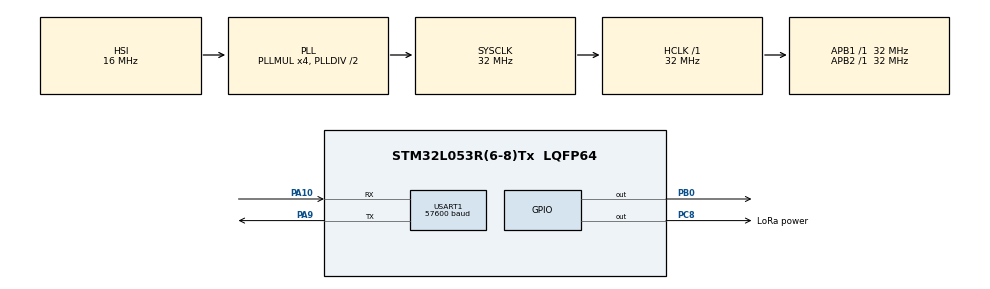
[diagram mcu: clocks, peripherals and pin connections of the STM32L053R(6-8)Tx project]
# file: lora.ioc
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Dma.Request0=USART1_RX
Dma.Request1=USART1_TX
Dma.USART1_RX.0.Direction=DMA_PERIPH_TO_MEMORY
Dma.USART1_RX.0.Instance=DMA1_Channel3
Dma.USART1_RX.0.MemDataAlignment=DMA_MDATAALIGN_BYTE
Dma.USART1_RX.0.MemInc=DMA_MINC_ENABLE
Dma.USART1_RX.0.Mode=DMA_CIRCULAR
Dma.USART1_RX.0.PeriphDataAlignment=DMA_PDATAALIGN_BYTE
Dma.USART1_RX.0.PeriphInc=DMA_PINC_DISABLE
Dma.USART1_RX.0.Priority=DMA_PRIORITY_LOW
Dma.USART1_TX.1.Direction=DMA_MEMORY_TO_PERIPH
Dma.USART1_TX.1.Instance=DMA1_Channel2
Dma.USART1_TX.1.MemDataAlignment=DMA_MDATAALIGN_BYTE
Dma.USART1_TX.1.MemInc=DMA_MINC_ENABLE
Dma.USART1_TX.1.Mode=DMA_NORMAL
Dma.USART1_TX.1.PeriphDataAlignment=DMA_PDATAALIGN_BYTE
Dma.USART1_TX.1.PeriphInc=DMA_PINC_DISABLE
Dma.USART1_TX.1.Priority=DMA_PRIORITY_LOW
Mcu.Family=STM32L0
Mcu.Name=STM32L053R(6-8)Tx
Mcu.Package=LQFP64
NVIC.DMA1_Channel2_3_IRQn=true\:0\:0\:false\:false\:true\:false\:true\:true
NVIC.TIM21_IRQn=true\:0\:0\:false\:false\:true\:true\:true\:true
NVIC.TIM6_DAC_IRQn=true\:0\:0\:false\:false\:true\:true\:true\:true
NVIC.USART1_IRQn=true\:0\:0\:false\:false\:true\:true\:true\:true
PA10.Mode=Asynchronous
PA10.Signal=USART1_RX
PA9.Mode=Asynchronous
PA9.Signal=USART1_TX
PB0.PinState=GPIO_PIN_SET
PB0.Signal=GPIO_Output
PC8.GPIO_Label=LoRa power
PC8.GPIO_ModeDefaultOutputPP=GPIO_MODE_OUTPUT_PP
PC8.PinState=GPIO_PIN_RESET
PC8.Signal=GPIO_Output
ProjectManager.HeapSize=0x200
ProjectManager.StackSize=0x400
ProjectManager.TargetToolchain=STM32CubeIDE
RCC.AHBFreq_Value=32000000
RCC.APB1Freq_Value=32000000
RCC.APB1TimFreq_Value=32000000
RCC.APB2Freq_Value=32000000
RCC.APB2TimFreq_Value=32000000
RCC.HCLKFreq_Value=32000000
RCC.HSE_VALUE=8000000
RCC.HSI16_VALUE=16000000
RCC.HSI48_VALUE=48000000
RCC.HSI_VALUE=16000000
RCC.LSE_VALUE=32768
RCC.MSI_VALUE=2097000
RCC.PLLMUL=RCC_PLLMUL_4
RCC.SYSCLKFreq_VALUE=32000000
RCC.SYSCLKSource=RCC_SYSCLKSOURCE_PLLCLK
RCC.VCOOutputFreq_Value=64000000
TIM21.Period=9999
TIM21.Prescaler=6399
TIM6.Period=9999
TIM6.Prescaler=6399
USART1.BaudRate=57600
USART1.VirtualMode-Asynchronous=VM_ASYNC
VP_TIM21_VS_ClockSourceINT.Mode=Internal
VP_TIM6_VS_ClockSourceINT.Mode=Enable_Timer
board=custom

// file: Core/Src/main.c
/* USER CODE BEGIN Header */
/**
  ******************************************************************************
  * @file           : main.c
  * @brief          : Main program body
  ******************************************************************************
  * @attention
  *
  * Copyright (c) 2026 STMicroelectronics.
  * All rights reserved.
  *
  * This software is licensed under terms that can be found in the LICENSE file
  * in the root directory of this software component.
  * If no LICENSE file comes with this software, it is provided AS-IS.
  *
  ******************************************************************************
  */
/* USER CODE END Header */
#include "main.h"

/* USER CODE BEGIN Includes */
#include <stdio.h>
#include <stdint.h>
#include <stdbool.h>
#include <RH_RF95.h>

/* USER CODE END Includes */

TIM_HandleTypeDef htim6;
TIM_HandleTypeDef htim21;

UART_HandleTypeDef huart1;
DMA_HandleTypeDef hdma_usart1_rx;
DMA_HandleTypeDef hdma_usart1_tx;

/* USER CODE BEGIN PV */
bool read_lora_fifo;
//htim6 is lora send timer

/* USER CODE END PV */

void SystemClock_Config(void);
static void MX_GPIO_Init(void);
static void MX_DMA_Init(void);
static void MX_USART1_UART_Init(void);
static void MX_TIM21_Init(void);
static void MX_TIM6_Init(void);

/* USER CODE BEGIN 0 */
bool sendfifo_ready_norm = true;
int sendfifo_offset_norm = 0;
bool rx_ready = false;
uint8_t sendfifo_norm[FIFOSIZE_TX_NORM]; //array of data read from LoRa module
uint8_t receivefifo[FIFOSIZE_RX]; //array of data read from LoRa module
uint8_t sendfifo_send_message[FIFOSIZE_TX_SEND]; //array of data sending to LoRa module for an actual message send
uint8_t sendfifo_rec_message[FIFOSIZE_TX_REC]; //array of data sending to LoRa module for reading FIFO buffer
int sendfifo_offset_send = 0;
bool sendfifo_ready_send = true;
int sendfifo_offset_rec = 0;
bool sendfifo_ready_rec = true;

bool send_normal = false;
bool send_send = false;
bool send_rec = false; //great names I know

uint8_t global_receive_mode_from_cad;
//1 means the lora timer is currently for receive mode timeout
//0 means the lora timer is currently for cad cycle

#ifdef CAD_BOL
  uint8_t rxdone = 0;
  uint8_t valid_header = 0;
  uint8_t crc_error = 0;
  bool clear = true; //this clears irq registers (need to for this, else LEDs would never reset)
  uint8_t rec_data [MESSAGE_LENGTH];
  bool rec_good = false;
  uint8_t send_data [MESSAGE_LENGTH];
  bool send_good = false;
#endif
/* USER CODE END 0 */

int main(void)
{

  /* MCU Configuration--------------------------------------------------------*/

  /* Reset of all peripherals, Initializes the Flash interface and the Systick. */
  HAL_Init();

  /* USER CODE BEGIN Init */
  //change systick priority
  HAL_NVIC_DisableIRQ (SysTick_IRQn);
  HAL_NVIC_SetPriority(SysTick_IRQn, 0, 0);
  HAL_NVIC_EnableIRQ(SysTick_IRQn);//while this is added here, it needs to be at the bottom of the main function right before the loop

  /* USER CODE END Init */

  /* Configure the system clock */
  SystemClock_Config();

  /* Initialize all configured peripherals */
  MX_GPIO_Init();
  MX_DMA_Init();
  MX_USART1_UART_Init();
  MX_TIM21_Init();
  MX_TIM6_Init();
  /* USER CODE BEGIN 2 */
  HAL_NVIC_DisableIRQ (TIM21_IRQn); //disable tim21, used for CAD cycle so it does not go off before init is done
  HAL_NVIC_DisableIRQ (TIM6_DAC_IRQn); //disable tim6, used for lora send so it does not go off before init is done
  read_lora_fifo = false;
  receivefifo[0] = 0; //added
  //HAL_GPIO_WritePin (GPIOC, 8, GPIO_PIN_SET);
  HAL_GPIO_WritePin (GPIOB, 0, GPIO_PIN_RESET);
  HAL_Delay(1000);
  //HAL_GPIO_WritePin (GPIOC, 8, GPIO_PIN_RESET);
  HAL_GPIO_WritePin (GPIOB, 0, GPIO_PIN_SET);
  HAL_Delay(1000);
  HAL_UART_Receive_DMA(&huart1, receivefifo, 1);
  HAL_Delay(1000);//added
  connected_test(hdma_usart1_tx, huart1);
  lora_init();
  HAL_Delay(1000);
  setup_lora_send_timer(&htim6); //set up lora send data timer
  HAL_NVIC_SetPriority(TIM21_IRQn, 2, 0); //start TIM21 since it was stopped before
  HAL_NVIC_EnableIRQ(TIM21_IRQn);
  HAL_NVIC_SetPriority(TIM6_DAC_IRQn, 2, 0);
  HAL_NVIC_EnableIRQ(TIM6_DAC_IRQn);
  //tx = C12, rx = D2
  //rxdone LED = C0, valid_header LED = C1, crc_error LED = C2 USE RESISTORS: 150 ohm
  //C3-10 are 8 bits for data
  //if(receive_bol){ //receiving
#ifdef CAD_BOL //important code in here, do not forget to add it
  send_data[0] = 0xF0;
  send_data[1] = 0x0F;
  HAL_TIM_Base_Start_IT(&htim21);
  HAL_TIM_Base_Start_IT(&htim6);
#endif

#ifdef RECEIVE_BOL
	  uint8_t rxdone = 0;
	  uint8_t valid_header = 0;
	  uint8_t crc_error = 0;
	  bool clear = true; //this clears irq registers (need to for this, else LEDs would never reset)
	  uint8_t data [MESSAGE_LENGTH];
	  bool good = false;
  //}
#endif
  //end receiving
  //else{//sending
#ifdef SEND_BOL
	  uint8_t data [MESSAGE_LENGTH];
	  data[0] = 0xF0;
	  data[1] = 0x0F;
	  bool good = false;
#endif
  //}
	  HAL_NVIC_DisableIRQ (SysTick_IRQn);//this has to be added here, else HAL_Delay will not work in TIM21 IRQ
	  HAL_NVIC_SetPriority(SysTick_IRQn, 0, 0);
	  HAL_NVIC_EnableIRQ(SysTick_IRQn);

//	  //this is for special fake interrupt for LoRa (Rx callback was calling a function that needed Tx callback, but they had same priority)
//	  HAL_NVIC_SetPriority(EXTI0_1_IRQn, 3, 0);
//	  HAL_NVIC_EnableIRQ(EXTI0_1_IRQn);
  /* USER CODE END 2 */

  /* Infinite loop */
  /* USER CODE BEGIN WHILE */
  while (1)
  {
	  if(read_lora_fifo){ //
		  // start restart the CAD timer so it doesn't take the entire receive-timout time
		  HAL_TIM_Base_Stop_IT(&htim21);
		  change_lora_timer_period(0, &htim21); //0 means sleep time,
		  HAL_TIM_Base_Start_IT(&htim21);
		  //end restart the CAD timer so it doesn't take the entire receive-timout time
		  lora_read_fifo_all(rec_data, 0x2, hdma_usart1_tx, huart1); //second input is length
		  read_lora_fifo = false;
	  }
#ifdef RECEIVE_BOL
		  set_mode_continuous_receive();
		  HAL_Delay(1000);
		  //every 1 second, check irq flags (and clear)
		  good = check_irq_flags_receive(&rxdone,&valid_header, &crc_error, clear);
		  //set LEDs based on flags
		  if(good){
		  	//GPIOC->ODR = rxdone | (valid_header << 1) | (crc_error << 2);
		  	lora_read_fifo_all(data, 2); //get message from FIFO
		  }
		  else{
		  	//GPIOC->ODR = 0;
		  }
		  set_mode_sleep(); //this clears FIFO
		  set_mode_continuous_receive(); //this goes back to receive mode
#endif
	  //end receiving
#ifdef SEND_BOL
		  good = lora_send(data, 2, hdma_usart1_tx, huart1);
		  if(good){
			  //GPIOC->ODR = 1 | (1 << 1) | (0 << 2) | (data[0] << 3);
		  }
		  else{
		      //GPIOC->ODR = 0 | (0 << 1) | (1 << 2) | (data[0] << 3);
		   }
		  HAL_Delay(1000);
		  //GPIOC->ODR = 0;
		  HAL_Delay(1000);
		  lora_write_single(RH_RF95_REG_12_IRQ_FLAGS, 0xff); // Clear all IRQ flags (can try adding this in send module as well)
		  //like reading register until get send done and then clear it
		  if(data[0] == 0xFF){
			  data[1] += 0x1;
		  }
		  data[0] += 0x1;
		  set_mode_sleep(hdma_usart1_tx, huart1); //this clears FIFO
#endif

#ifdef CAD_BOL
  //do nothing, wait for timer
#endif
    /* USER CODE END WHILE */

  }
}

void SystemClock_Config(void)
{
  RCC_OscInitTypeDef RCC_OscInitStruct = {0};
  RCC_ClkInitTypeDef RCC_ClkInitStruct = {0};
  RCC_PeriphCLKInitTypeDef PeriphClkInit = {0};

  /** Configure the main internal regulator output voltage
  */
  __HAL_PWR_VOLTAGESCALING_CONFIG(PWR_REGULATOR_VOLTAGE_SCALE1);

  /** Initializes the RCC Oscillators according to the specified parameters
  * in the RCC_OscInitTypeDef structure.
  */
  RCC_OscInitStruct.OscillatorType = RCC_OSCILLATORTYPE_HSI;
  RCC_OscInitStruct.HSIState = RCC_HSI_ON;
  RCC_OscInitStruct.HSICalibrationValue = RCC_HSICALIBRATION_DEFAULT;
  RCC_OscInitStruct.PLL.PLLState = RCC_PLL_ON;
  RCC_OscInitStruct.PLL.PLLSource = RCC_PLLSOURCE_HSI;
  RCC_OscInitStruct.PLL.PLLMUL = RCC_PLLMUL_4;
  RCC_OscInitStruct.PLL.PLLDIV = RCC_PLLDIV_2;
  if (HAL_RCC_OscConfig(&RCC_OscInitStruct) != HAL_OK)
  {
    Error_Handler();
  }

  /** Initializes the CPU, AHB and APB buses clocks
  */
  RCC_ClkInitStruct.ClockType = RCC_CLOCKTYPE_HCLK|RCC_CLOCKTYPE_SYSCLK
                              |RCC_CLOCKTYPE_PCLK1|RCC_CLOCKTYPE_PCLK2;
  RCC_ClkInitStruct.SYSCLKSource = RCC_SYSCLKSOURCE_PLLCLK;
  RCC_ClkInitStruct.AHBCLKDivider = RCC_SYSCLK_DIV1;
  RCC_ClkInitStruct.APB1CLKDivider = RCC_HCLK_DIV1;
  RCC_ClkInitStruct.APB2CLKDivider = RCC_HCLK_DIV1;

  if (HAL_RCC_ClockConfig(&RCC_ClkInitStruct, FLASH_LATENCY_1) != HAL_OK)
  {
    Error_Handler();
  }
  PeriphClkInit.PeriphClockSelection = RCC_PERIPHCLK_USART1;
  PeriphClkInit.Usart1ClockSelection = RCC_USART1CLKSOURCE_PCLK2;
  if (HAL_RCCEx_PeriphCLKConfig(&PeriphClkInit) != HAL_OK)
  {
    Error_Handler();
  }
}

static void MX_TIM6_Init(void)
{

  TIM_MasterConfigTypeDef sMasterConfig = {0};

  htim6.Instance = TIM6;
  htim6.Init.Prescaler = 6399;
  htim6.Init.CounterMode = TIM_COUNTERMODE_UP;
  htim6.Init.Period = 9999;
  htim6.Init.AutoReloadPreload = TIM_AUTORELOAD_PRELOAD_DISABLE;
  if (HAL_TIM_Base_Init(&htim6) != HAL_OK)
  {
    Error_Handler();
  }
  sMasterConfig.MasterOutputTrigger = TIM_TRGO_RESET;
  sMasterConfig.MasterSlaveMode = TIM_MASTERSLAVEMODE_DISABLE;
  if (HAL_TIMEx_MasterConfigSynchronization(&htim6, &sMasterConfig) != HAL_OK)
  {
    Error_Handler();
  }

}

static void MX_TIM21_Init(void)
{

  TIM_ClockConfigTypeDef sClockSourceConfig = {0};
  TIM_MasterConfigTypeDef sMasterConfig = {0};

  htim21.Instance = TIM21;
  htim21.Init.Prescaler = 6399;
  htim21.Init.CounterMode = TIM_COUNTERMODE_UP;
  htim21.Init.Period = 9999;
  htim21.Init.ClockDivision = TIM_CLOCKDIVISION_DIV1;
  htim21.Init.AutoReloadPreload = TIM_AUTORELOAD_PRELOAD_DISABLE;
  if (HAL_TIM_Base_Init(&htim21) != HAL_OK)
  {
    Error_Handler();
  }
  sClockSourceConfig.ClockSource = TIM_CLOCKSOURCE_INTERNAL;
  if (HAL_TIM_ConfigClockSource(&htim21, &sClockSourceConfig) != HAL_OK)
  {
    Error_Handler();
  }
  sMasterConfig.MasterOutputTrigger = TIM_TRGO_RESET;
  sMasterConfig.MasterSlaveMode = TIM_MASTERSLAVEMODE_DISABLE;
  if (HAL_TIMEx_MasterConfigSynchronization(&htim21, &sMasterConfig) != HAL_OK)
  {
    Error_Handler();
  }

}

static void MX_USART1_UART_Init(void)
{

  huart1.Instance = USART1;
  huart1.Init.BaudRate = 57600;
  huart1.Init.WordLength = UART_WORDLENGTH_8B;
  huart1.Init.StopBits = UART_STOPBITS_1;
  huart1.Init.Parity = UART_PARITY_NONE;
  huart1.Init.Mode = UART_MODE_TX_RX;
  huart1.Init.HwFlowCtl = UART_HWCONTROL_NONE;
  huart1.Init.OverSampling = UART_OVERSAMPLING_16;
  huart1.Init.OneBitSampling = UART_ONE_BIT_SAMPLE_DISABLE;
  huart1.AdvancedInit.AdvFeatureInit = UART_ADVFEATURE_NO_INIT;
  if (HAL_UART_Init(&huart1) != HAL_OK)
  {
    Error_Handler();
  }

}

static void MX_DMA_Init(void)
{

  /* DMA controller clock enable */
  __HAL_RCC_DMA1_CLK_ENABLE();

  /* DMA interrupt init */
  /* DMA1_Channel2_3_IRQn interrupt configuration */
  HAL_NVIC_SetPriority(DMA1_Channel2_3_IRQn, 0, 0);
  HAL_NVIC_EnableIRQ(DMA1_Channel2_3_IRQn);

}

static void MX_GPIO_Init(void)
{
  GPIO_InitTypeDef GPIO_InitStruct = {0};

  /* GPIO Ports Clock Enable */
  __HAL_RCC_GPIOB_CLK_ENABLE();
  __HAL_RCC_GPIOC_CLK_ENABLE();
  __HAL_RCC_GPIOA_CLK_ENABLE();

  /*Configure GPIO pin Output Level */
  HAL_GPIO_WritePin(GPIOB, GPIO_PIN_0, GPIO_PIN_SET);

  /*Configure GPIO pin Output Level */
  HAL_GPIO_WritePin(LoRa_power_GPIO_Port, LoRa_power_Pin, GPIO_PIN_RESET);

  /*Configure GPIO pin : PB0 */
  GPIO_InitStruct.Pin = GPIO_PIN_0;
  GPIO_InitStruct.Mode = GPIO_MODE_OUTPUT_PP;
  GPIO_InitStruct.Pull = GPIO_NOPULL;
  GPIO_InitStruct.Speed = GPIO_SPEED_FREQ_LOW;
  HAL_GPIO_Init(GPIOB, &GPIO_InitStruct);

  /*Configure GPIO pin : LoRa_power_Pin */
  GPIO_InitStruct.Pin = LoRa_power_Pin;
  GPIO_InitStruct.Mode = GPIO_MODE_OUTPUT_PP;
  GPIO_InitStruct.Pull = GPIO_NOPULL;
  GPIO_InitStruct.Speed = GPIO_SPEED_FREQ_LOW;
  HAL_GPIO_Init(LoRa_power_GPIO_Port, &GPIO_InitStruct);

}

/* USER CODE BEGIN 4 */
void HAL_UART_RxCpltCallback (UART_HandleTypeDef *huart){
	//normal code
	//receivefifo[0] = 0;
	rx_ready = true;
	//then call receive again
	HAL_UART_Receive_DMA(&huart1, receivefifo, 1);
	if(global_receive_mode_from_cad == 1){
		global_receive_mode_from_cad = 0;
		//this is for when CAD mode detected a preamble
		//this should not happen, figure out what to do here later
		if(receivefifo[0] == 0x49){
			//this is when the response is I (0x49)
			//this means this is actually the I response for a DIO interrupt
			//call the read FIFO and figure out response function
			//lora_read_fifo_all(rec_data, 0x2, hdma_usart1_tx, huart[0]); //second input is length
			//HAL_NVIC_SetPendingIRQ(1);//above line is called in this interrupt to deal with interrupt priorities
			int value;
			value = uart_read(); //dummy read to get rid of the I response
			read_lora_fifo = true;
		}
	}
}

void HAL_UART_TxCpltCallback(UART_HandleTypeDef *huart)
{
	if(send_normal){
		for (int i = 0;  i < FIFOSIZE_TX_NORM; i++){
		        sendfifo_norm[i] = 0;
		    }
		sendfifo_offset_norm = 0;
		sendfifo_ready_norm = true;
		send_normal = false;
	}
	else if(send_send){
		for (int i = 0;  i < FIFOSIZE_TX_SEND; i++){
			sendfifo_send_message[i] = 0;
		}
		sendfifo_offset_send = 0;
		sendfifo_ready_send = true;
		send_send = false;
	}
	else if(send_rec){
		for (int i = 0;  i < FIFOSIZE_TX_REC; i++){
			sendfifo_rec_message[i] = 0;
		}
		sendfifo_offset_rec = 0;
		sendfifo_ready_rec = true;
		send_rec = false;
	}
	else{
		//should not happen, error
		while (true){
			//infinite loop to know something is wrong
		}
	}
}

/* USER CODE END 4 */

void Error_Handler(void)
{
  __disable_irq();
  while (1)
  {
  }
}
